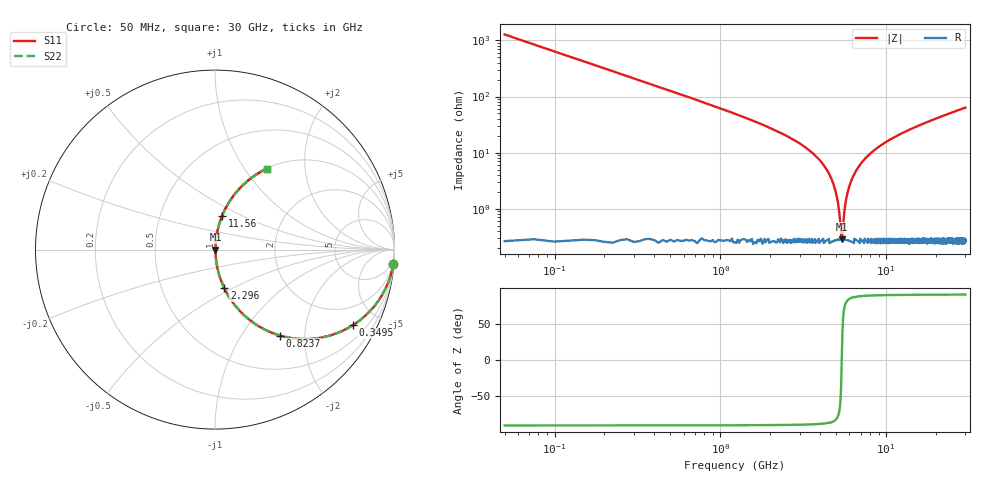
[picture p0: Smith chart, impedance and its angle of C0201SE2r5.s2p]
!	AVX Thin Film Operation 	Date: April 2014
!	Description: Accu-P® Series, Thin Film  SMD RF Capacitor
!	Part Number: 02013J2R5QBSTR
# MHZ S MA R 50
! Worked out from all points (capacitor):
!   1201 points, 50 MHz to 30 GHz, reference 50 ohm
!   read as one part in series: C = 2.5 pF near 199.8 MHz
!   lowest |Z| = 285 mohm at 5.391 GHz (marker M1)
!   series resonance near 5.39 GHz, so ESL is about 350 pH
!   S11 on the Smith chart (normalised r, x): 50 MHz: 1, -25; 349.5 MHz: 1.01, -3.63; 823.7 MHz: 1.01, -1.51; 2.296 GHz: 1.01, -0.45; 11.56 GHz: 1.01, +0.40; 30 GHz: 1.01, +1.27
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50  0.997 -4.5  0.078 85.5  0.078 85.5  0.997 -4.5
249.667  0.93 -21.4  0.366 68.5  0.366 68.5  0.93 -21.4
349.5  0.875 -28.8  0.482 61.1  0.482 61.1  0.875 -28.8
823.708  0.601 -52.8  0.797 37.0  0.797 37.0  0.601 -52.8
1397.75  0.39 -66.7  0.918 23.0  0.918 23.0  0.39 -66.7
2296.25  0.221 -76.6  0.973 12.8  0.973 12.8  0.221 -76.6
4168.125  0.061 -84.0  0.995 3.5  0.995 3.5  0.061 -84.0
4667.292  0.034 -83.6  0.997 1.9  0.997 1.9  0.034 -83.6
5041.667  0.016 -79.5  0.997 0.9  0.997 0.9  0.016 -79.5
5291.25  0.005102 -58.2  0.997 0.2  0.997 0.2  0.005102 -58.2
5391.083  0.002674 1.3  0.997 -0.0  0.997 -0.0  0.002674 1.3
5490.917  0.005133 58.4  0.997 -0.3  0.997 -0.3  0.005133 58.4
5690.583  0.013 77.5  0.997 -0.7  0.997 -0.7  0.013 77.5
5890.25  0.021 81.5  0.997 -1.2  0.997 -1.2  0.021 81.5
6614.042  0.049 84.1  0.996 -2.8  0.996 -2.8  0.049 84.1
7961.792  0.094 83.0  0.993 -5.4  0.993 -5.4  0.094 83.0
10058.29  0.155 80.1  0.985 -8.9  0.985 -8.9  0.155 80.1
11555.79  0.194 78.0  0.978 -11.2  0.978 -11.2  0.194 78.0
15025  0.275 73.5  0.959 -16.0  0.959 -16.0  0.275 73.5
20016.67  0.376 67.5  0.924 -22.1  0.924 -22.1  0.376 67.5
25033.29  0.463 62.2  0.884 -27.6  0.884 -27.6  0.463 62.2
30000  0.536 57.4  0.842 -32.4  0.842 -32.4  0.536 57.4
